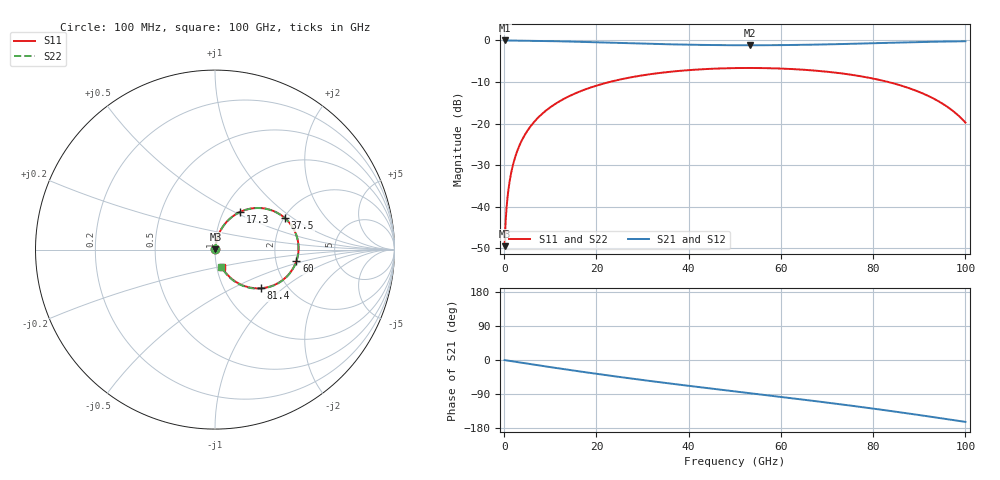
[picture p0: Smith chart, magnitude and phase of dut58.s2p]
! Touchstone file exported from HFSS 2026.1.0
!  File:  C:/ffzhzh/LocalFiles/Ansys_Project_Files/temp_train_RDL_58_1783498420_55944.aedt
!  Generated:  04:14:53 PM Jul  8, 2026
!  Design:  RDL
!  Project:  temp_train_RDL_58_1783498420_55944
! Variables:
!  h_bsmrdl = 2um
!  h_ox = 20um
!  h_rdl = 5um
!  h_sub = 80um
!  h_tmrdl = 3.05um
!  h_tsv = 80um
!  h_via = 3um
!  l_bsmrdl = 300um
!  l_sub = 948.35um
!  l_tmrdl = 548.35um
!  m_sub = 200um
!  pitch = 45.43um
!  r_tsv = 6um
!  s_tmrdl = 10um
!  w_bsmrdl = 18um
!  w_sub = 500um
!  w_tmrdl = 25.38um
!  x_tsv_center1 = 561.04um
!  x_tsv_center2 = 879.04um
!  x_tsv_center3 = 1452.77um
!  x_tsv_center4 = 1770.77um
!  x_tsv_center5 = 2344.5um
!  x_tsv_center6 = 2662.5um
# GHz S MA R 50.000000
! Terminal data exported
! Port[1] = TM_RDL1_1_T1
! Port[2] = TM_RDL1_1_T2
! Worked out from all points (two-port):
!   1000 points, 100 MHz to 100 GHz, reference 50 ohm
!   highest |S21| = -0.02 dB at 100 MHz (marker M1); lowest = -1.2 dB at 53.2 GHz (marker M2)
!   |S21| within 3 dB of the highest: start of sweep to end of sweep
!   lowest |S11| = -49.5 dB at 100 MHz (marker M3), VSWR 1.01, Z = 50.3 + j0.191 ohm
!   |S11| at or under -10 dB: start of sweep to 22.88 GHz; 83.22 GHz to end of sweep
!   |S22| runs from -49.5 to -6.6 dB; largest |S21 - S12| = 1.7e-14
!   S11 on the Smith chart (normalised r, x): 100 MHz: 1.01, +0.00; 17.3 GHz: 1.20, +0.54; 37.5 GHz: 2.02, +0.87; 60 GHz: 2.61, -0.42; 81.4 GHz: 1.48, -0.72; 100 GHz: 1.06, -0.20
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0.1  0.003356 34.5  0.9972 -0.2  0.9972 -0.2  0.003356 34.5
! Gamma 0 0 0 0
! Port Impedance 50 0 50 0
0.9  0.01564 74.7  0.9962 -1.7  0.9962 -1.7  0.01564 74.7
1.5  0.0252 78.3  0.9958 -2.9  0.9958 -2.9  0.0252 78.3
2.6  0.04294 79.4  0.9949 -5.0  0.9949 -5.0  0.04294 79.4
4.2  0.06857 78.0  0.9929 -8.0  0.9929 -8.0  0.06857 78.0
6.3  0.1015 74.8  0.9891 -11.9  0.9891 -11.9  0.1015 74.8
9.1  0.1436 70.1  0.9826 -17.1  0.9826 -17.1  0.1436 70.1
12.6  0.1932 64.1  0.9727 -23.5  0.9727 -23.5  0.1932 64.0
16.8  0.2477 56.9  0.9591 -30.9  0.9591 -30.9  0.2477 56.9
17.3  0.2538 56.1  0.9574 -31.8  0.9574 -31.8  0.2538 56.0
24.6  0.3332 44.1  0.9318 -44.1  0.9318 -44.1  0.3332 44.1
33.4  0.4036 30.5  0.9033 -58.1  0.9033 -58.1  0.4036 30.3
37.5  0.4271 24.3  0.8925 -64.4  0.8925 -64.4  0.427 24.2
50.1  0.4642 6.1  0.8738 -83.0  0.8738 -83.0  0.4642 5.9
53.2  0.4656 1.7  0.8731 -87.5  0.8731 -87.5  0.4656 1.5
60  0.458 -8.0  0.8767 -97.4  0.8767 -97.4  0.458 -8.2
66.7  0.4361 -17.7  0.8872 -107.4  0.8872 -107.4  0.436 -18.0
81.4  0.3342 -40.1  0.9276 -130.5  0.9276 -130.5  0.3341 -40.5
83.4  0.3144 -43.3  0.934 -133.9  0.934 -133.9  0.3144 -43.7
93  0.201 -58.7  0.9621 -150.6  0.9621 -150.6  0.2009 -59.3
96.6  0.1517 -64.1  0.97 -157.1  0.97 -157.1  0.1515 -64.9
100  0.1027 -68.3  0.9755 -163.4  0.9755 -163.4  0.1025 -69.4
